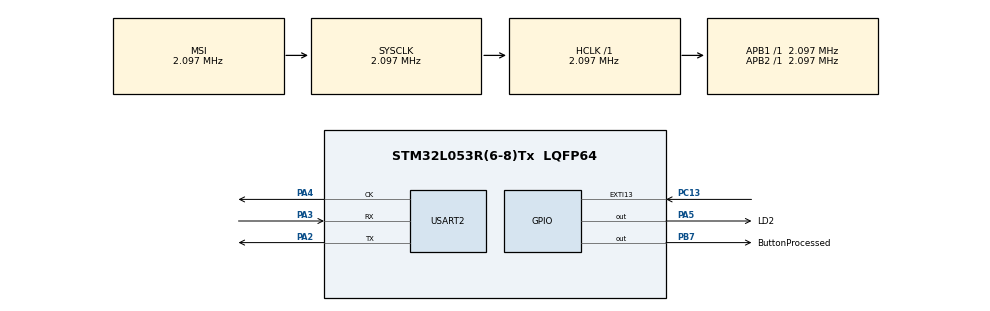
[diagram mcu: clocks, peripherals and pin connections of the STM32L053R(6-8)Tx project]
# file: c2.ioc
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Dma.Request0=USART2_RX
Dma.Request1=USART2_TX
Dma.USART2_RX.0.Direction=DMA_PERIPH_TO_MEMORY
Dma.USART2_RX.0.Instance=DMA1_Channel5
Dma.USART2_RX.0.MemDataAlignment=DMA_MDATAALIGN_BYTE
Dma.USART2_RX.0.MemInc=DMA_MINC_ENABLE
Dma.USART2_RX.0.Mode=DMA_NORMAL
Dma.USART2_RX.0.PeriphDataAlignment=DMA_PDATAALIGN_BYTE
Dma.USART2_RX.0.PeriphInc=DMA_PINC_DISABLE
Dma.USART2_RX.0.Priority=DMA_PRIORITY_LOW
Dma.USART2_TX.1.Direction=DMA_MEMORY_TO_PERIPH
Dma.USART2_TX.1.Instance=DMA1_Channel4
Dma.USART2_TX.1.MemDataAlignment=DMA_MDATAALIGN_BYTE
Dma.USART2_TX.1.MemInc=DMA_MINC_ENABLE
Dma.USART2_TX.1.Mode=DMA_NORMAL
Dma.USART2_TX.1.PeriphDataAlignment=DMA_PDATAALIGN_BYTE
Dma.USART2_TX.1.PeriphInc=DMA_PINC_DISABLE
Dma.USART2_TX.1.Priority=DMA_PRIORITY_LOW
FREERTOS.Tasks01=defaultTask,24,128,StartDefaultTask,Default,NULL,Dynamic,NULL,NULL
FREERTOS.configUSE_NEWLIB_REENTRANT=1
Mcu.Family=STM32L0
Mcu.Name=STM32L053R(6-8)Tx
Mcu.Package=LQFP64
NVIC.DMA1_Channel4_5_6_7_IRQn=true\:3\:0\:false\:false\:true\:true\:false\:true\:true
NVIC.TIM2_IRQn=true\:3\:0\:false\:false\:true\:false\:false\:true\:true
NVIC.TimeBase=TIM2_IRQn
NVIC.TimeBaseIP=TIM2
NVIC.USART2_IRQn=true\:3\:0\:false\:false\:true\:true\:false\:true\:true
PA2.Mode=Synchronous
PA2.Signal=USART2_TX
PA3.Mode=Synchronous
PA3.Signal=USART2_RX
PA4.Mode=Synchronous
PA4.Signal=USART2_CK
PA5.GPIO_Label=LD2
PA5.Signal=GPIO_Output
PB7.GPIO_FM7=I2C_FASTMODEPLUS_PB7
PB7.GPIO_Label=ButtonProcessed
PB7.GPIO_Speed=GPIO_SPEED_FREQ_VERY_HIGH
PB7.Signal=GPIO_Output
PC13.Signal=GPXTI13
ProjectManager.HeapSize=0x200
ProjectManager.StackSize=0x400
ProjectManager.TargetToolchain=STM32CubeIDE
RCC.AHBFreq_Value=2097000
RCC.APB1Freq_Value=2097000
RCC.APB1TimFreq_Value=2097000
RCC.APB2Freq_Value=2097000
RCC.APB2TimFreq_Value=2097000
RCC.HSE_VALUE=8000000
RCC.HSI16_VALUE=16000000
RCC.HSI48_VALUE=48000000
RCC.HSI_VALUE=16000000
RCC.LSE_VALUE=32768
RCC.MSI_VALUE=2097000
RCC.SYSCLKFreq_VALUE=2097000
RCC.VCOOutputFreq_Value=48000000
USART2.VirtualMode-Synchronous=VM_SYNC
VP_FREERTOS_VS_CMSIS_V2.Mode=CMSIS_V2
VP_SYS_VS_tim2.Mode=TIM2
board=custom

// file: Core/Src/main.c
/* USER CODE BEGIN Header */
/**
  ******************************************************************************
  * @file           : main.c
  * @brief          : Main program body
  ******************************************************************************
  * @attention
  *
  * Copyright (c) 2026 STMicroelectronics.
  * All rights reserved.
  *
  * This software is licensed under terms that can be found in the LICENSE file
  * in the root directory of this software component.
  * If no LICENSE file comes with this software, it is provided AS-IS.
  *
  ******************************************************************************
  */
/* USER CODE END Header */
#include "main.h"
#include "cmsis_os.h"

USART_HandleTypeDef husart2;
DMA_HandleTypeDef hdma_usart2_rx;
DMA_HandleTypeDef hdma_usart2_tx;

/* Definitions for defaultTask */
osThreadId_t defaultTaskHandle;
const osThreadAttr_t defaultTask_attributes = {
  .name = "defaultTask",
  .stack_size = 128 * 2,
  .priority = (osPriority_t) osPriorityNormal,
};

void SystemClock_Config(void);
static void MX_GPIO_Init(void);
static void MX_DMA_Init(void);
static void MX_USART2_Init(void);
void StartDefaultTask(void *argument);

/* USER CODE BEGIN 0 */

#include <stdbool.h>
#include <stdatomic.h>

atomic_bool buttonPressed;

typedef struct {
	char data[32];
} UartMessage;

/* Definitions for blinkLed */
osThreadId_t blinkLedHandle;
const osThreadAttr_t blinkLed_attributes = {
  .name = "blinkLed",
  .stack_size = 256,
  .priority = (osPriority_t) osPriorityAboveNormal,
};
/* Definitions for uartWriter */
osThreadId_t uartWriterHandle;
const osThreadAttr_t uartWriter_attributes = {
  .name = "uartWriter",
  .stack_size = 256,
  .priority = (osPriority_t) osPriorityNormal,
};
/* Definitions for buttonWaiter */
osThreadId_t buttonWaiterHandle;
const osThreadAttr_t buttonWaiter_attributes = {
  .name = "buttonWaiter",
  .stack_size = 256,
  .priority = (osPriority_t) osPriorityRealtime,
};
/* Definitions for uartQueue */
osMessageQueueId_t uartQueueHandle;
const osMessageQueueAttr_t uartQueue_attributes = {
  .name = "uartQueue"
};
/* Definitions for buttonInterruptEvent */
osEventFlagsId_t buttonInterruptEventHandle;
const osEventFlagsAttr_t buttonInterruptEvent_attributes = {
  .name = "buttonInterruptEvent"
};

/* USER CODE END 0 */

int main(void)
{

  /* USER CODE BEGIN 1 */
	atomic_init(&buttonPressed, false);
  /* USER CODE END 1 */

  /* MCU Configuration--------------------------------------------------------*/

  /* Reset of all peripherals, Initializes the Flash interface and the Systick. */
  HAL_Init();

  /* Configure the system clock */
  SystemClock_Config();

  /* Initialize all configured peripherals */
  MX_GPIO_Init();
  MX_DMA_Init();
  MX_USART2_Init();

  /* Init scheduler */
  osKernelInitialize();

  /* Create the thread(s) */
  /* creation of defaultTask */
  defaultTaskHandle = osThreadNew(StartDefaultTask, NULL, &defaultTask_attributes);

  /* Start scheduler */
  osKernelStart();

  /* We should never get here as control is now taken by the scheduler */

  /* Infinite loop */
  while (1)
  {

  }
}

void SystemClock_Config(void)
{
  RCC_OscInitTypeDef RCC_OscInitStruct = {0};
  RCC_ClkInitTypeDef RCC_ClkInitStruct = {0};
  RCC_PeriphCLKInitTypeDef PeriphClkInit = {0};

  /** Configure the main internal regulator output voltage
  */
  __HAL_PWR_VOLTAGESCALING_CONFIG(PWR_REGULATOR_VOLTAGE_SCALE1);

  /** Initializes the RCC Oscillators according to the specified parameters
  * in the RCC_OscInitTypeDef structure.
  */
  RCC_OscInitStruct.OscillatorType = RCC_OSCILLATORTYPE_MSI;
  RCC_OscInitStruct.MSIState = RCC_MSI_ON;
  RCC_OscInitStruct.MSICalibrationValue = 0;
  RCC_OscInitStruct.MSIClockRange = RCC_MSIRANGE_5;
  RCC_OscInitStruct.PLL.PLLState = RCC_PLL_NONE;
  if (HAL_RCC_OscConfig(&RCC_OscInitStruct) != HAL_OK)
  {
    Error_Handler();
  }

  /** Initializes the CPU, AHB and APB buses clocks
  */
  RCC_ClkInitStruct.ClockType = RCC_CLOCKTYPE_HCLK|RCC_CLOCKTYPE_SYSCLK
                              |RCC_CLOCKTYPE_PCLK1|RCC_CLOCKTYPE_PCLK2;
  RCC_ClkInitStruct.SYSCLKSource = RCC_SYSCLKSOURCE_MSI;
  RCC_ClkInitStruct.AHBCLKDivider = RCC_SYSCLK_DIV1;
  RCC_ClkInitStruct.APB1CLKDivider = RCC_HCLK_DIV1;
  RCC_ClkInitStruct.APB2CLKDivider = RCC_HCLK_DIV1;

  if (HAL_RCC_ClockConfig(&RCC_ClkInitStruct, FLASH_LATENCY_0) != HAL_OK)
  {
    Error_Handler();
  }
  PeriphClkInit.PeriphClockSelection = RCC_PERIPHCLK_USART2;
  PeriphClkInit.Usart2ClockSelection = RCC_USART2CLKSOURCE_PCLK1;
  if (HAL_RCCEx_PeriphCLKConfig(&PeriphClkInit) != HAL_OK)
  {
    Error_Handler();
  }
}

static void MX_USART2_Init(void)
{

  husart2.Instance = USART2;
  husart2.Init.BaudRate = 115200;
  husart2.Init.WordLength = USART_WORDLENGTH_8B;
  husart2.Init.StopBits = USART_STOPBITS_1;
  husart2.Init.Parity = USART_PARITY_NONE;
  husart2.Init.Mode = USART_MODE_TX_RX;
  husart2.Init.CLKPolarity = USART_POLARITY_LOW;
  husart2.Init.CLKPhase = USART_PHASE_1EDGE;
  husart2.Init.CLKLastBit = USART_LASTBIT_DISABLE;
  if (HAL_USART_Init(&husart2) != HAL_OK)
  {
    Error_Handler();
  }

}

static void MX_DMA_Init(void)
{

  /* DMA controller clock enable */
  __HAL_RCC_DMA1_CLK_ENABLE();

  /* DMA interrupt init */
  /* DMA1_Channel4_5_6_7_IRQn interrupt configuration */
  HAL_NVIC_SetPriority(DMA1_Channel4_5_6_7_IRQn, 3, 0);
  HAL_NVIC_EnableIRQ(DMA1_Channel4_5_6_7_IRQn);

}

static void MX_GPIO_Init(void)
{
  GPIO_InitTypeDef GPIO_InitStruct = {0};

  /* GPIO Ports Clock Enable */
  __HAL_RCC_GPIOC_CLK_ENABLE();
  __HAL_RCC_GPIOA_CLK_ENABLE();
  __HAL_RCC_GPIOB_CLK_ENABLE();

  /*Configure GPIO pin Output Level */
  HAL_GPIO_WritePin(LD2_GPIO_Port, LD2_Pin, GPIO_PIN_RESET);

  /*Configure GPIO pin Output Level */
  HAL_GPIO_WritePin(ButtonProcessed_GPIO_Port, ButtonProcessed_Pin, GPIO_PIN_RESET);

  /*Configure GPIO pin : PC13 */
  GPIO_InitStruct.Pin = GPIO_PIN_13;
  GPIO_InitStruct.Mode = GPIO_MODE_IT_RISING;
  GPIO_InitStruct.Pull = GPIO_NOPULL;
  HAL_GPIO_Init(GPIOC, &GPIO_InitStruct);

  /*Configure GPIO pin : LD2_Pin */
  GPIO_InitStruct.Pin = LD2_Pin;
  GPIO_InitStruct.Mode = GPIO_MODE_OUTPUT_PP;
  GPIO_InitStruct.Pull = GPIO_NOPULL;
  GPIO_InitStruct.Speed = GPIO_SPEED_FREQ_LOW;
  HAL_GPIO_Init(LD2_GPIO_Port, &GPIO_InitStruct);

  /*Configure GPIO pin : ButtonProcessed_Pin */
  GPIO_InitStruct.Pin = ButtonProcessed_Pin;
  GPIO_InitStruct.Mode = GPIO_MODE_OUTPUT_PP;
  GPIO_InitStruct.Pull = GPIO_NOPULL;
  GPIO_InitStruct.Speed = GPIO_SPEED_FREQ_VERY_HIGH;
  HAL_GPIO_Init(ButtonProcessed_GPIO_Port, &GPIO_InitStruct);

  /**/
}

void StartDefaultTask(void *argument)
{
  /* USER CODE BEGIN 5 */
	/* Infinite loop */
	for (;;) {
		osDelay(100);

		if (atomic_load(&buttonPressed) == GPIO_PIN_RESET) {
			HAL_GPIO_WritePin(LD2_GPIO_Port, LD2_Pin, GPIO_PIN_SET);
		}

		osDelay(100);
		HAL_GPIO_WritePin(LD2_GPIO_Port, LD2_Pin, GPIO_PIN_RESET);
	}
  /* USER CODE END 5 */
}

void HAL_TIM_PeriodElapsedCallback(TIM_HandleTypeDef *htim)
{
  if (htim->Instance == TIM2)
  {
    HAL_IncTick();
  }
}

void Error_Handler(void)
{
  __disable_irq();
  while (1)
  {
  }
}
